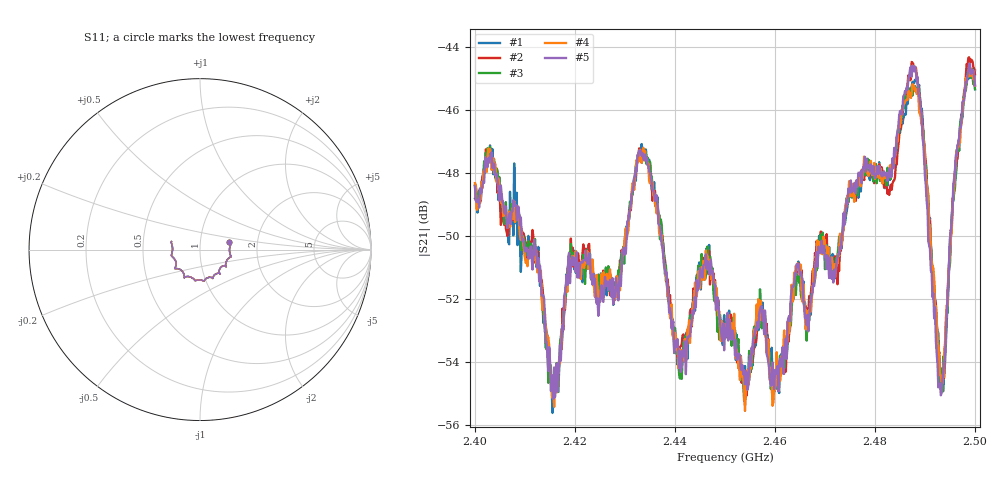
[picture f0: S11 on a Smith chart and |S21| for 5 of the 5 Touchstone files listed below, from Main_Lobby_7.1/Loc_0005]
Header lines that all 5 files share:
# Hz S RI R 50
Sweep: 2.4 GHz to 2.5 GHz
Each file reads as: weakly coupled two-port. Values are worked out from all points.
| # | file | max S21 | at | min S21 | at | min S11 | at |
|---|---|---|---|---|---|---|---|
| 1 | Lab_139_2Ch1.s2p | -44.57 dB | 2.4988 GHz | -55.6 dB | 2.4155 GHz | -16.1 dB | 2.4862 GHz |
| 2 | Lab_139_3Ch1.s2p | -44.32 dB | 2.4988 GHz | -55.2 dB | 2.4595 GHz | -16.1 dB | 2.4862 GHz |
| 3 | Lab_139_4Ch1.s2p | -44.69 dB | 2.4993 GHz | -55.2 dB | 2.4538 GHz | -16.1 dB | 2.4862 GHz |
| 4 | Lab_139_9Ch1.s2p | -44.67 dB | 2.4992 GHz | -55.6 dB | 2.454 GHz | -16.1 dB | 2.4862 GHz |
| 5 | Lab_139_10Ch1.s2p | -44.52 dB | 2.4988 GHz | -55.2 dB | 2.4157 GHz | -16.1 dB | 2.4862 GHz |
